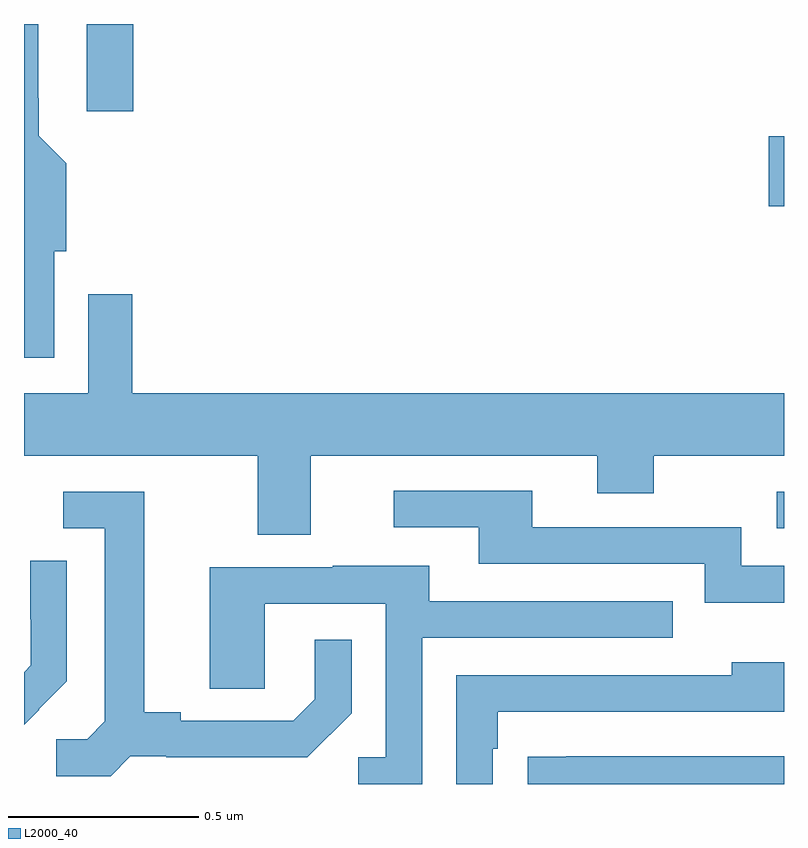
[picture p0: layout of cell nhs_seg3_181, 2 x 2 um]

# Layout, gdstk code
import gdstk
lib = gdstk.Library(unit=1e-6, precision=1e-09)
def R(c, l, rs):  # rectangles x0, y0, x1, y1
    for r in rs: c.add(gdstk.rectangle(r[:2], r[2:], *l))
def P(c, l, *ps):  # polygons
    for p in ps: c.add(gdstk.Polygon(p, *l))
L2000_40 = (2000, 40)

nhs_seg3_181 = lib.new_cell('nhs_seg3_181')
R(nhs_seg3_181, L2000_40, [(114.981,686.073,115,686.169), (114.96,686.921,115,687.104), (113.165,687.171,113.288,687.4)])
P(nhs_seg3_181, L2000_40, [(113.08,686.802),(113.111,686.802),(113.111,687.034),(113.039,687.106),(113.039,687.205),(113.038,687.205),(113.038,687.4),(113,687.4),(113,686.522),(113.08,686.522)],
  [(113.755,686.264),(114.509,686.264),(114.509,686.165),(114.657,686.165),(114.657,686.264),(115,686.264),(115,686.428),(113.285,686.428),(113.285,686.689),(113.169,686.689),(113.169,686.428),(113,686.428),(113,686.264),(113.615,686.264),(113.615,686.056),(113.755,686.056)],
  [(115,685.974),(114.888,685.974),(114.888,686.076),(114.337,686.076),(114.337,686.172),(113.973,686.172),(113.973,686.076),(114.197,686.076),(114.197,685.98),(114.792,685.98),(114.792,685.877),(115,685.877)],
  [(113.28,685.473),(113.374,685.473),(113.374,685.47),(113.746,685.47),(113.862,685.586),(113.862,685.78),(113.765,685.78),(113.765,685.623),(113.708,685.566),(113.413,685.566),(113.413,685.589),(113.317,685.589),(113.317,686.169),(113.103,686.169),(113.103,686.073),(113.213,686.073),(113.213,685.565),(113.166,685.518),(113.085,685.518),(113.085,685.421),(113.228,685.421)],
  [(113.04,685.596),(113.039,685.597),(113.112,685.67),(113.112,685.988),(113.016,685.988),(113.016,685.834),(113.018,685.834),(113.018,685.712),(113,685.694),(113,685.556)],
  [(114.048,685.785),(114.707,685.785),(114.707,685.881),(114.067,685.881),(114.067,685.975),(113.813,685.975),(113.813,685.971),(113.489,685.971),(113.489,685.651),(113.634,685.651),(113.634,685.875),(113.952,685.875),(113.952,685.47),(113.88,685.47),(113.88,685.4),(114.048,685.4)],
  [(114.234,685.493),(114.247,685.493),(114.247,685.59),(115,685.59),(115,685.72),(114.863,685.72),(114.863,685.686),(114.138,685.686),(114.138,685.4),(114.234,685.4)],
  [(115,685.473),(114.427,685.473),(114.427,685.472),(114.325,685.472),(114.325,685.4),(115,685.4)])

lib.write_gds('nhs_seg3_181.gds')
